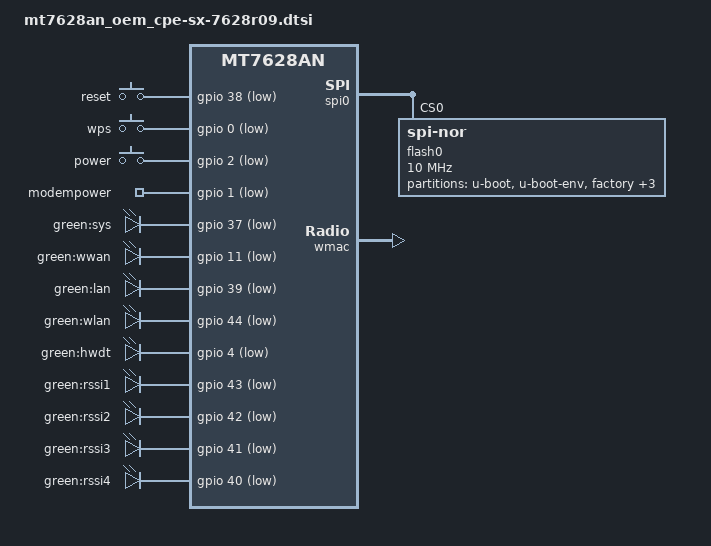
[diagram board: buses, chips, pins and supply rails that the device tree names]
#include <dt-bindings/input/input.h>
#include <dt-bindings/gpio/gpio.h>

#include "mt7628an.dtsi"

/ {
	compatible = "oem,cpe-sx-7628r09", "mediatek,mt7628an-soc";

	aliases {
		led-boot = &led_sys;
		led-failsafe = &led_sys;
		led-running = &led_sys;
		led-upgrade = &led_sys;
	};

	chosen {
		bootargs = "console=ttyS1,115200";
	};

	keys {
		compatible = "gpio-keys-polled";
		poll-interval = <20>;

		reset {
			label = "reset";
			gpios = <&gpio 38 GPIO_ACTIVE_LOW>;
			linux,code = <KEY_RESTART>;
		};
		
		wps {
			label = "wps";
			gpios = <&gpio 0 GPIO_ACTIVE_LOW>;
			linux,code = <KEY_WPS_BUTTON>;
		};

		power {
			label = "power";
			gpios = <&gpio 2 GPIO_ACTIVE_LOW>;
			linux,code = <BTN_0>;
		};
	};

	gpio_export {
		compatible = "gpio-export";
		#size-cells = <0>;
		modempower {
			gpio-export,name = "modempower";
			gpio-export,output = <1>;
			gpios = <&gpio 1 GPIO_ACTIVE_LOW>;
		};
	};

	leds {
		compatible = "gpio-leds";

		led_sys: sys {
			label = "green:sys";
			gpios = <&gpio 37 GPIO_ACTIVE_LOW>;
		};

		wwan {
			label = "green:wwan";
			gpios = <&gpio 11 GPIO_ACTIVE_LOW>;
		};

		lan {
			label = "green:lan";
			gpios = <&gpio 39 GPIO_ACTIVE_LOW>;
		};

		wlan {
			label = "green:wlan";
			gpios = <&gpio 44 GPIO_ACTIVE_LOW>;
			linux,default-trigger = "phy0pt";
		};

		hwdt {
			label = "green:hwdt";
			gpios = <&gpio 4 GPIO_ACTIVE_LOW>;
			linux,default-trigger = "timer";
	        };

		rssi1 {
			label = "green:rssi1";
			gpios = <&gpio 43 GPIO_ACTIVE_LOW>;
		};

		rssi2 {
			label = "green:rssi2";
			gpios = <&gpio 42 GPIO_ACTIVE_LOW>;
		};

		rssi3 {
			label = "green:rssi3";
			gpios = <&gpio 41 GPIO_ACTIVE_LOW>;
		};

		rssi4 {
			label = "green:rssi4";
			gpios = <&gpio 40 GPIO_ACTIVE_LOW>;
		};
	};
};

&spi0 {
	status = "okay";

	flash0: flash@0 {
		compatible = "jedec,spi-nor";
		reg = <0>;
		spi-max-frequency = <10000000>;

		partitions {
			compatible = "fixed-partitions";
			#address-cells = <1>;
			#size-cells = <1>;

			partition@0 {
				label = "u-boot";
				reg = <0x0 0x30000>;
				read-only;
			};

			partition@30000 {
				label = "u-boot-env";
				reg = <0x30000 0x10000>;
			};

			factory: partition@40000 {
				label = "factory";
				reg = <0x40000 0x10000>;
				read-only;
			};

			partition@7e0000 {
				label = "backup";
				reg = <0x7e0000 0x10000>;
			};

			partition@7f0000 {
				label = "bdinfo";
				reg = <0x7f0000 0x10000>;
			};

			firmware: partition@50000 {
				compatible = "denx,uimage";
				label = "firmware";
			};
		};
	};
};

&pinctrl {
	state_default: pinctrl0 {
		gpio {
			groups = "gpio", "refclk", "wled_an";
			function = "gpio";
		};
	};
};

&wmac {
	status = "okay";
};

&ethernet {
	mtd-mac-address = <&factory 0xe000>;
};

